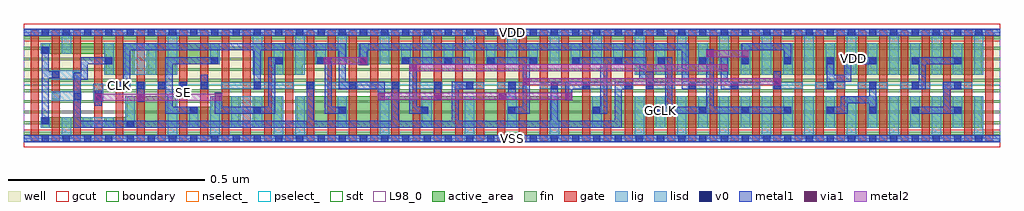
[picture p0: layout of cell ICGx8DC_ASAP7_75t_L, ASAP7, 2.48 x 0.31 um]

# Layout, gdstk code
import gdstk
lib = gdstk.Library(unit=1e-6, precision=2.5e-10)
def R(c, l, rs):  # rectangles x0, y0, x1, y1
    for r in rs: c.add(gdstk.rectangle(r[:2], r[2:], *l))
def A(c, l, x, y, w, h, nx, ny, dx, dy):  # array of equal rectangles
    R(c, l, [(x+i*dx, y+j*dy, x+i*dx+w, y+j*dy+h) for i in range(nx) for j in range(ny)])
def P(c, l, *ps):  # polygons
    for p in ps: c.add(gdstk.Polygon(p, *l))
well = (1, 0)
fin = (2, 0)
gate = (7, 0)
gcut = (10, 0)
active_area = (11, 0)
nselect_ = (12, 0)
pselect_ = (13, 0)
lig = (16, 0)
lisd = (17, 0)
v0 = (18, 0)
metal1 = (19, 0)
metal2 = (20, 0)
via1 = (21, 0)
sdt = (88, 0)
L98_0 = (98, 0)
boundary = (100, 0)

icgx8dc_asap7_75t_l = lib.new_cell('ICGx8DC_ASAP7_75t_L')
R(icgx8dc_asap7_75t_l, well, [(0,0.135,2.484,0.27)])
A(icgx8dc_asap7_75t_l, fin, 0, 0.01, 2.484, 0.007, 1, 10, 0, 0.027)
A(icgx8dc_asap7_75t_l, gate, 0.017, -0.005, 0.02, 0.28, 46, 1, 0.054, 0)
R(icgx8dc_asap7_75t_l, gcut, [(0,-0.022,2.484,0.022), (0,0.248,2.484,0.292)])
R(icgx8dc_asap7_75t_l, active_area, [(0.046,0.027,0.17,0.054), (0.586,0.027,0.656,0.108), (0.694,0.027,2.438,0.108)])
P(icgx8dc_asap7_75t_l, active_area, [(0.386,0.108),(0.262,0.108),(0.262,0.054),(0.208,0.054),(0.208,0.027),(0.548,0.027),(0.548,0.108),(0.478,0.108),(0.478,0.081),(0.386,0.081)],
  [(0.494,0.243),(0.316,0.243),(0.316,0.162),(0.386,0.162),(0.386,0.189),(0.494,0.189)],
  [(0.046,0.216),(0.208,0.216),(0.208,0.162),(0.278,0.162),(0.278,0.243),(0.046,0.243)],
  [(1.558,0.162),(2.438,0.162),(2.438,0.243),(0.586,0.243),(0.586,0.162),(0.71,0.162),(0.71,0.189),(1.558,0.189)])
R(icgx8dc_asap7_75t_l, nselect_, [(0,0,2.484,0.135)])
R(icgx8dc_asap7_75t_l, pselect_, [(0,0.135,2.484,0.27)])
A(icgx8dc_asap7_75t_l, lig, 0.232, 0.127, 0.022, 0.016, 5, 1, 0.054, 0)
A(icgx8dc_asap7_75t_l, lig, 0.772, 0.127, 0.076, 0.016, 7, 1, 0.108, 0)
A(icgx8dc_asap7_75t_l, lig, 1.582, 0.127, 0.076, 0.016, 8, 1, 0.108, 0)
R(icgx8dc_asap7_75t_l, lig, [(0,-0.008,2.484,0.008), (0.07,0.1,0.092,0.116), (0.178,0.1,0.2,0.116), (1.528,0.126,1.55,0.142), (0.502,0.127,0.686,0.143), (0.718,0.127,0.74,0.143), (0.124,0.154,0.146,0.17), (0,0.262,2.484,0.278)])
A(icgx8dc_asap7_75t_l, lisd, 0.69, 0, 0.024, 0.108, 5, 1, 0.216, 0)
A(icgx8dc_asap7_75t_l, lisd, 1.662, 0, 0.024, 0.108, 8, 1, 0.108, 0)
A(icgx8dc_asap7_75t_l, lisd, 1.608, 0.027, 0.024, 0.081, 8, 2, 0.108, 0.135)
A(icgx8dc_asap7_75t_l, lisd, 1.554, 0.162, 0.024, 0.108, 9, 1, 0.108, 0)
A(icgx8dc_asap7_75t_l, lisd, 0.798, 0.189, 0.024, 0.081, 7, 1, 0.108, 0)
A(icgx8dc_asap7_75t_l, lisd, 0.96, 0.189, 0.024, 0.054, 6, 1, 0.108, 0)
R(icgx8dc_asap7_75t_l, lisd, [(0.096,0,0.12,0.054), (0.366,0,0.39,0.108), (0.474,0,0.498,0.108), (0.636,0,0.66,0.108), (0.042,0.027,0.066,0.054), (0.15,0.027,0.228,0.054), (0.258,0.027,0.282,0.108), (0.42,0.027,0.444,0.081), (0.528,0.027,0.606,0.108), (0.798,0.027,0.822,0.108), (1.011,0.027,1.038,0.108), (1.23,0.027,1.254,0.108), (1.446,0.027,1.47,0.108), (0.176,0.095,0.202,0.14), (0.07,0.096,0.146,0.12), (0.07,0.15,0.146,0.174), (0.204,0.162,0.228,0.243), (0.258,0.162,0.336,0.243), (0.366,0.162,0.39,0.27), (0.582,0.162,0.606,0.27), (0.636,0.162,0.66,0.243), (0.69,0.162,0.714,0.27), (0.851,0.187,0.877,0.243), (0.474,0.189,0.498,0.243), (0.743,0.189,0.768,0.243), (0.042,0.216,0.066,0.243), (0.096,0.216,0.12,0.27)])
A(icgx8dc_asap7_75t_l, v0, 0.045, -0.009, 0.018, 0.018, 45, 2, 0.054, 0.27)
A(icgx8dc_asap7_75t_l, v0, 1.611, 0.063, 0.018, 0.018, 8, 1, 0.108, 0)
A(icgx8dc_asap7_75t_l, v0, 0.234, 0.126, 0.018, 0.018, 5, 1, 0.054, 0)
A(icgx8dc_asap7_75t_l, v0, 0.72, 0.126, 0.018, 0.018, 4, 1, 0.108, 0)
A(icgx8dc_asap7_75t_l, v0, 1.125, 0.126, 0.018, 0.018, 3, 1, 0.108, 0)
A(icgx8dc_asap7_75t_l, v0, 1.584, 0.126, 0.018, 0.018, 4, 1, 0.108, 0)
A(icgx8dc_asap7_75t_l, v0, 2.043, 0.126, 0.018, 0.018, 4, 1, 0.108, 0)
A(icgx8dc_asap7_75t_l, v0, 0.963, 0.189, 0.018, 0.018, 6, 1, 0.108, 0)
A(icgx8dc_asap7_75t_l, v0, 1.719, 0.189, 0.018, 0.018, 7, 1, 0.108, 0)
R(icgx8dc_asap7_75t_l, v0, [(0.261,0.027,0.279,0.045), (0.045,0.036,0.063,0.054), (0.423,0.063,0.441,0.081), (0.585,0.063,0.603,0.081), (0.801,0.063,0.819,0.081), (1.011,0.063,1.029,0.081), (1.232,0.063,1.25,0.081), (1.448,0.063,1.466,0.081), (0.126,0.099,0.144,0.117), (0.18,0.099,0.198,0.117), (1.53,0.125,1.548,0.143), (0.585,0.126,0.603,0.144), (1.422,0.126,1.44,0.144), (0.072,0.153,0.09,0.171), (0.855,0.187,0.873,0.205), (0.207,0.189,0.225,0.207), (0.477,0.189,0.495,0.207), (0.64,0.189,0.658,0.207), (0.746,0.189,0.764,0.207), (1.613,0.189,1.631,0.207), (0.045,0.216,0.063,0.234)])
R(icgx8dc_asap7_75t_l, metal1, [(0,-0.009,2.484,0.009), (0.18,0.084,0.198,0.122), (0.288,0.094,0.306,0.144), (1.044,0.097,1.062,0.144), (0.396,0.107,0.414,0.144), (0.45,0.126,0.468,0.162), (1.908,0.126,1.926,0.171), (0,0.261,2.484,0.279)])
P(icgx8dc_asap7_75t_l, metal1, [(1.953,0.081),(1.755,0.081),(1.755,0.227),(1.737,0.227),(1.737,0.207),(1.719,0.207),(1.719,0.189),(1.737,0.189),(1.737,0.081),(1.65,0.081),(1.65,0.207),(1.613,0.207),(1.613,0.189),(1.632,0.189),(1.632,0.081),(1.611,0.081),(1.611,0.063),(1.953,0.063)],
  [(2.385,0.081),(2.358,0.081),(2.358,0.126),(2.385,0.126),(2.385,0.144),(2.34,0.144),(2.34,0.081),(2.259,0.081),(2.259,0.063),(2.385,0.063)],
  [(1.395,0.126),(1.44,0.126),(1.44,0.144),(1.377,0.144),(1.377,0.097),(1.395,0.097)],
  [(2.097,0.09),(2.151,0.09),(2.151,0.063),(2.169,0.063),(2.169,0.144),(2.151,0.144),(2.151,0.108),(2.079,0.108),(2.079,0.081),(2.043,0.081),(2.043,0.063),(2.097,0.063)],
  [(1.251,0.144),(1.233,0.144),(1.233,0.117),(1.208,0.117),(1.208,0.099),(1.251,0.099)],
  [(1.029,0.081),(0.999,0.081),(0.999,0.189),(1.134,0.189),(1.134,0.207),(0.963,0.207),(0.963,0.189),(0.981,0.189),(0.981,0.063),(1.029,0.063)],
  [(1.485,0.189),(1.566,0.189),(1.566,0.152),(1.584,0.152),(1.584,0.126),(1.602,0.126),(1.602,0.17),(1.584,0.17),(1.584,0.207),(1.395,0.207),(1.395,0.189),(1.467,0.189),(1.467,0.081),(1.448,0.081),(1.448,0.063),(1.485,0.063)],
  [(0.639,0.189),(0.658,0.189),(0.658,0.207),(0.621,0.207),(0.621,0.081),(0.504,0.081),(0.504,0.117),(0.486,0.117),(0.486,0.063),(0.639,0.063)],
  [(2.061,0.144),(2.106,0.144),(2.106,0.189),(2.169,0.189),(2.169,0.207),(2.088,0.207),(2.088,0.162),(2.061,0.162),(2.061,0.207),(2.043,0.207),(2.043,0.126),(2.061,0.126)],
  [(0.441,0.081),(0.378,0.081),(0.378,0.189),(0.495,0.189),(0.495,0.207),(0.36,0.207),(0.36,0.144),(0.342,0.144),(0.342,0.126),(0.36,0.126),(0.36,0.063),(0.441,0.063)],
  [(0.819,0.081),(0.783,0.081),(0.783,0.207),(0.746,0.207),(0.746,0.189),(0.765,0.189),(0.765,0.063),(0.819,0.063)],
  [(1.818,0.144),(1.791,0.144),(1.791,0.207),(1.773,0.207),(1.773,0.126),(1.818,0.126)],
  [(1.521,0.125),(1.548,0.125),(1.548,0.143),(1.503,0.143),(1.503,0.045),(1.359,0.045),(1.359,0.144),(1.341,0.144),(1.341,0.045),(1.107,0.045),(1.107,0.126),(1.143,0.126),(1.143,0.144),(1.089,0.144),(1.089,0.045),(0.954,0.045),(0.954,0.144),(0.936,0.144),(0.936,0.045),(0.738,0.045),(0.738,0.144),(0.72,0.144),(0.72,0.045),(0.144,0.045),(0.144,0.149),(0.162,0.149),(0.162,0.189),(0.225,0.189),(0.225,0.207),(0.144,0.207),(0.144,0.167),(0.126,0.167),(0.126,0.027),(1.521,0.027)],
  [(1.287,0.189),(1.305,0.189),(1.305,0.207),(1.179,0.207),(1.179,0.189),(1.269,0.189),(1.269,0.081),(1.232,0.081),(1.232,0.063),(1.287,0.063)],
  [(2.385,0.207),(2.259,0.207),(2.259,0.189),(2.277,0.189),(2.277,0.144),(2.259,0.144),(2.259,0.126),(2.295,0.126),(2.295,0.189),(2.385,0.189)],
  [(0.918,0.144),(0.819,0.144),(0.819,0.243),(0.252,0.243),(0.252,0.144),(0.234,0.144),(0.234,0.126),(0.27,0.126),(0.27,0.225),(0.585,0.225),(0.585,0.126),(0.603,0.126),(0.603,0.225),(0.801,0.225),(0.801,0.126),(0.9,0.126),(0.9,0.097),(0.918,0.097)],
  [(0.063,0.153),(0.09,0.153),(0.09,0.171),(0.063,0.171),(0.063,0.234),(0.045,0.234),(0.045,0.036),(0.063,0.036)],
  [(1.71,0.144),(1.692,0.144),(1.692,0.243),(0.855,0.243),(0.855,0.187),(0.873,0.187),(0.873,0.225),(1.674,0.225),(1.674,0.126),(1.71,0.126)],
  [(1.845,0.225),(1.935,0.225),(1.935,0.189),(1.953,0.189),(1.953,0.243),(1.827,0.243),(1.827,0.189),(1.845,0.189)])
R(icgx8dc_asap7_75t_l, metal2, [(0.18,0.096,0.504,0.114), (0.9,0.099,1.395,0.117), (1.269,0.135,1.926,0.153), (0.981,0.171,1.791,0.189), (0.763,0.189,0.873,0.207), (1.737,0.207,1.845,0.225)])
R(icgx8dc_asap7_75t_l, via1, [(0.18,0.096,0.198,0.114), (0.288,0.096,0.306,0.114), (0.486,0.096,0.504,0.114), (0.9,0.099,0.918,0.117), (1.044,0.099,1.062,0.117), (1.21,0.099,1.228,0.117), (1.377,0.099,1.395,0.117), (1.269,0.135,1.287,0.153), (1.908,0.135,1.926,0.153), (0.981,0.171,0.999,0.189), (1.773,0.171,1.791,0.189), (0.763,0.189,0.781,0.207), (0.855,0.189,0.873,0.207), (1.737,0.207,1.755,0.225), (1.827,0.207,1.845,0.225)])
A(icgx8dc_asap7_75t_l, sdt, 0.042, 0.027, 0.024, 0.027, 4, 1, 0.054, 0)
A(icgx8dc_asap7_75t_l, sdt, 0.258, 0.027, 0.024, 0.081, 3, 1, 0.108, 0)
A(icgx8dc_asap7_75t_l, sdt, 0.528, 0.027, 0.024, 0.081, 4, 1, 0.054, 0)
A(icgx8dc_asap7_75t_l, sdt, 0.798, 0.027, 0.024, 0.081, 8, 1, 0.108, 0)
A(icgx8dc_asap7_75t_l, sdt, 1.608, 0.027, 0.024, 0.081, 16, 1, 0.054, 0)
A(icgx8dc_asap7_75t_l, sdt, 0.204, 0.162, 0.024, 0.081, 4, 1, 0.054, 0)
A(icgx8dc_asap7_75t_l, sdt, 0.582, 0.162, 0.024, 0.081, 3, 1, 0.054, 0)
A(icgx8dc_asap7_75t_l, sdt, 1.554, 0.162, 0.024, 0.081, 17, 1, 0.054, 0)
A(icgx8dc_asap7_75t_l, sdt, 0.744, 0.189, 0.024, 0.054, 15, 1, 0.054, 0)
R(icgx8dc_asap7_75t_l, sdt, [(0.42,0.027,0.444,0.081), (0.474,0.189,0.498,0.243), (0.042,0.216,0.066,0.243), (0.096,0.216,0.12,0.243)])
R(icgx8dc_asap7_75t_l, L98_0, [(0,0,2.484,0.27)])
R(icgx8dc_asap7_75t_l, boundary, [(0,0,2.484,0.27)])
icgx8dc_asap7_75t_l.add(gdstk.Label('SE', (0.405,0.117), layer=19, texttype=251))
icgx8dc_asap7_75t_l.add(gdstk.Label('GCLK', (1.62,0.072), layer=19, texttype=251))
icgx8dc_asap7_75t_l.add(gdstk.Label('ENA', (0.459,0.135), layer=19, texttype=251))
icgx8dc_asap7_75t_l.add(gdstk.Label('CLK', (0.243,0.135), layer=19, texttype=251))
icgx8dc_asap7_75t_l.add(gdstk.Label('VSS', (1.242,0), layer=19, texttype=251))
icgx8dc_asap7_75t_l.add(gdstk.Label('VDD', (1.242,0.27), layer=19, texttype=251))
icgx8dc_asap7_75t_l.add(gdstk.Label('VDD', (2.1115,0.2025), layer=1, texttype=251))
icgx8dc_asap7_75t_l.add(gdstk.Label('VSS', (2.8565,0.2025), layer=3, texttype=251))

lib.write_gds('ICGx8DC_ASAP7_75t_L.gds')
